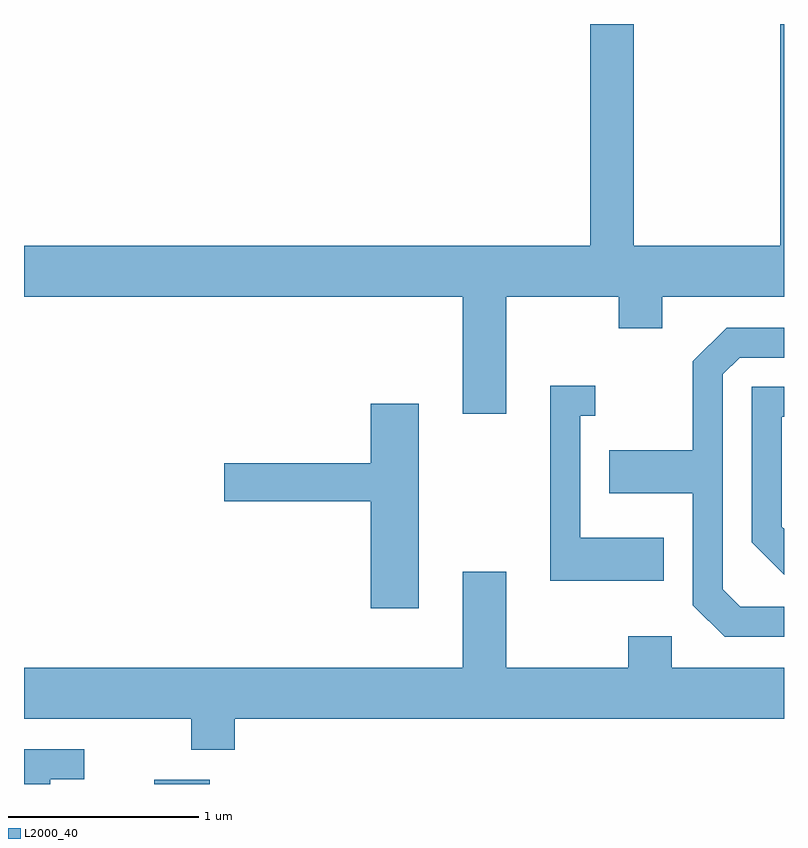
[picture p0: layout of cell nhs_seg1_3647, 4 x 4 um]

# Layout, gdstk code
import gdstk
lib = gdstk.Library(unit=1e-6, precision=1e-09)
def R(c, l, rs):  # rectangles x0, y0, x1, y1
    for r in rs: c.add(gdstk.rectangle(r[:2], r[2:], *l))
def P(c, l, *ps):  # polygons
    for p in ps: c.add(gdstk.Polygon(p, *l))
L2000_40 = (2000, 40)

nhs_seg1_3647 = lib.new_cell('nhs_seg1_3647')
R(nhs_seg1_3647, L2000_40, [(296.296,863.712,296.589,863.734)])
P(nhs_seg1_3647, L2000_40, [(298.149,866.276),(298.741,866.276),(298.741,866.111),(298.969,866.111),(298.969,866.276),(299.611,866.276),(299.611,867.712),(299.591,867.712),(299.591,866.544),(298.819,866.544),(298.819,867.712),(298.591,867.712),(298.591,866.544),(295.611,866.544),(295.611,866.276),(297.921,866.276),(297.921,865.661),(298.149,865.661)],
  [(299.611,864.644),(299.382,864.644),(299.289,864.737),(299.289,865.869),(299.377,865.956),(299.611,865.956),(299.611,866.114),(299.309,866.114),(299.131,865.937),(299.131,865.469),(298.691,865.469),(298.691,865.241),(299.131,865.241),(299.131,864.654),(299.299,864.486),(299.611,864.486)],
  [(298.979,865.009),(298.539,865.009),(298.539,865.651),(298.618,865.651),(298.618,865.809),(298.381,865.809),(298.381,864.781),(298.979,864.781)],
  [(299.611,865.055),(299.599,865.067),(299.599,865.646),(299.611,865.646),(299.611,865.804),(299.441,865.804),(299.441,864.984),(299.611,864.814)],
  [(297.689,865.714),(297.436,865.714),(297.436,865.399),(296.666,865.399),(296.666,865.201),(297.436,865.201),(297.436,864.636),(297.689,864.636)],
  [(296.719,864.056),(299.611,864.056),(299.611,864.324),(299.019,864.324),(299.019,864.489),(298.791,864.489),(298.791,864.324),(298.149,864.324),(298.149,864.829),(297.921,864.829),(297.921,864.324),(295.611,864.324),(295.611,864.056),(296.491,864.056),(296.491,863.891),(296.719,863.891)],
  [(295.749,863.736),(295.928,863.736),(295.928,863.894),(295.611,863.894),(295.611,863.712),(295.749,863.712)])

lib.write_gds('nhs_seg1_3647.gds')
